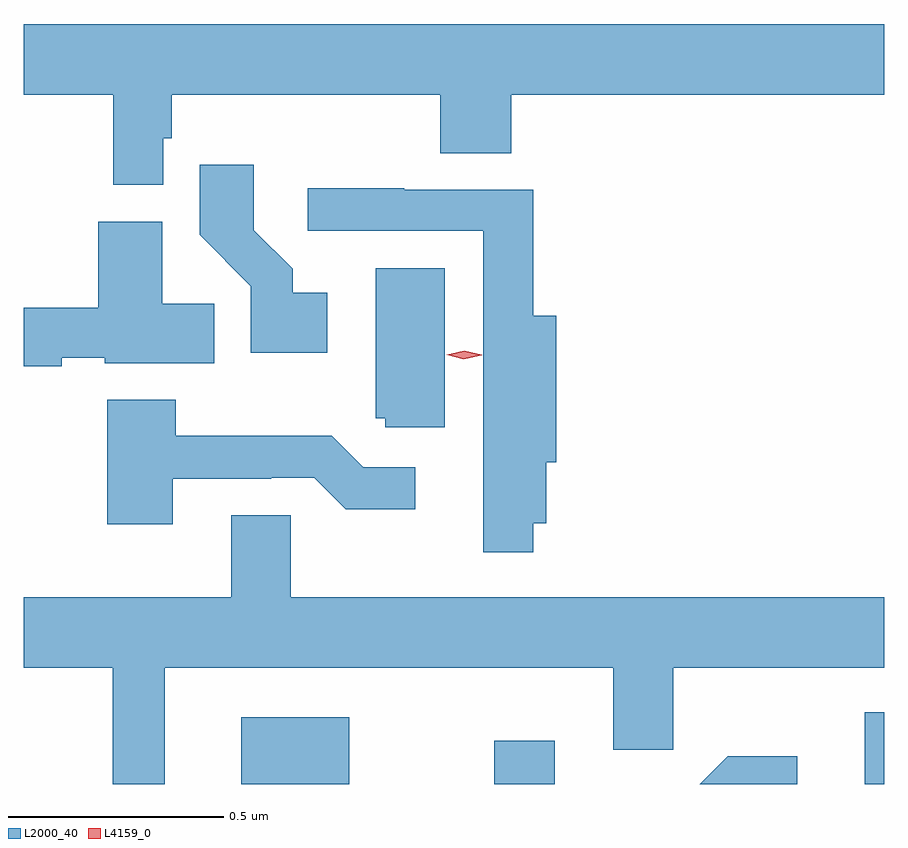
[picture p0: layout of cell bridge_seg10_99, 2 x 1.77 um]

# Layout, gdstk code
import gdstk
lib = gdstk.Library(unit=1e-6, precision=1e-09)
def R(c, l, rs):  # rectangles x0, y0, x1, y1
    for r in rs: c.add(gdstk.rectangle(r[:2], r[2:], *l))
def P(c, l, *ps):  # polygons
    for p in ps: c.add(gdstk.Polygon(p, *l))
L2000_40 = (2000, 40)
L4159_0 = (4159, 0)

bridge_seg10_99 = lib.new_cell('bridge_seg10_99')
R(bridge_seg10_99, L2000_40, [(517.103,1308.038,517.354,1308.193), (517.691,1308.038,517.831,1308.139), (518.552,1308.038,518.597,1308.205)])
P(bridge_seg10_99, L2000_40, [(516.921,1309.539),(516.941,1309.539),(516.941,1309.64),(517.565,1309.64),(517.565,1309.504),(517.73,1309.504),(517.73,1309.64),(518.597,1309.64),(518.597,1309.804),(516.597,1309.804),(516.597,1309.64),(516.805,1309.64),(516.805,1309.43),(516.921,1309.43)],
  [(517.303,1309.18),(517.222,1309.18),(517.222,1309.235),(517.132,1309.325),(517.132,1309.477),(517.006,1309.477),(517.006,1309.314),(517.125,1309.195),(517.125,1309.04),(517.303,1309.04)],
  [(517.781,1308.644),(517.811,1308.644),(517.811,1308.786),(517.835,1308.786),(517.835,1309.126),(517.781,1309.126),(517.781,1309.419),(517.481,1309.419),(517.481,1309.422),(517.257,1309.422),(517.257,1309.323),(517.665,1309.323),(517.665,1308.576),(517.781,1308.576)],
  [(516.686,1309.029),(516.786,1309.029),(516.786,1309.016),(517.04,1309.016),(517.04,1309.154),(516.919,1309.154),(516.919,1309.345),(516.77,1309.345),(516.77,1309.145),(516.597,1309.145),(516.597,1309.009),(516.686,1309.009)],
  [(517.576,1309.237),(517.415,1309.237),(517.415,1308.888),(517.437,1308.888),(517.437,1308.867),(517.576,1308.867)],
  [(516.943,1308.747),(517.172,1308.747),(517.172,1308.75),(517.272,1308.75),(517.345,1308.677),(517.507,1308.677),(517.507,1308.774),(517.386,1308.774),(517.313,1308.847),(516.951,1308.847),(516.951,1308.931),(516.791,1308.931),(516.791,1308.642),(516.943,1308.642)],
  [(516.925,1308.308),(517.967,1308.308),(517.967,1308.118),(518.106,1308.118),(518.106,1308.308),(518.597,1308.308),(518.597,1308.472),(517.218,1308.472),(517.218,1308.662),(517.079,1308.662),(517.079,1308.472),(516.597,1308.472),(516.597,1308.308),(516.804,1308.308),(516.804,1308.038),(516.925,1308.038)],
  [(518.395,1308.103),(518.233,1308.103),(518.168,1308.038),(518.395,1308.038)])
P(bridge_seg10_99, L4159_0, [(517.62,1309.025),(517.58,1309.035),(517.58,1309.035),(517.58,1309.035),(517.621,1309.045),(517.661,1309.035),(517.661,1309.034),(517.661,1309.034)])

lib.write_gds('bridge_seg10_99.gds')
